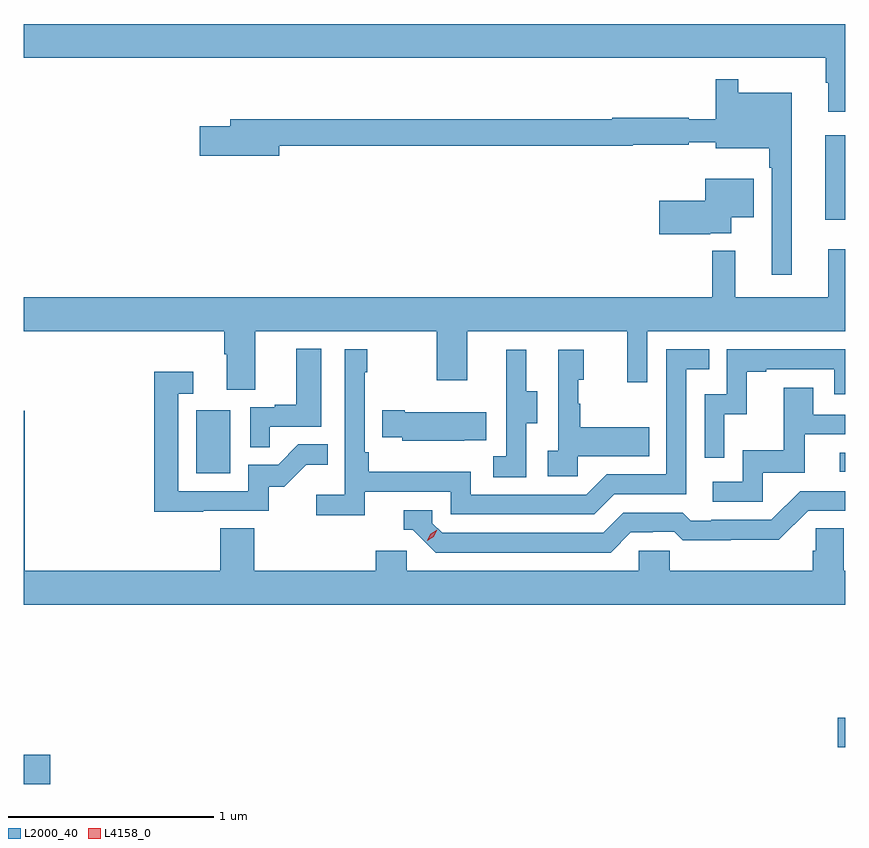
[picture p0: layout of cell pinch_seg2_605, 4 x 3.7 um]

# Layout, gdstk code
import gdstk
lib = gdstk.Library(unit=1e-6, precision=1e-09)
def R(c, l, rs):  # rectangles x0, y0, x1, y1
    for r in rs: c.add(gdstk.rectangle(r[:2], r[2:], *l))
def P(c, l, *ps):  # polygons
    for p in ps: c.add(gdstk.Polygon(p, *l))
L2000_40 = (2000, 40)
L4158_0 = (4158, 0)

pinch_seg2_605 = lib.new_cell('pinch_seg2_605')
R(pinch_seg2_605, L2000_40, [(1034.942,614.794,1035.07,614.936), (1038.906,614.974,1038.942,615.116), (1035.782,616.308,1035.946,616.615), (1038.915,616.314,1038.942,616.407), (1038.845,617.543,1038.942,617.953)])
P(pinch_seg2_605, L2000_40, [(1038.942,618.496),(1034.942,618.496),(1034.942,618.332),(1038.849,618.332),(1038.849,618.209),(1038.86,618.209),(1038.86,618.069),(1038.942,618.069)],
  [(1038.682,618.16),(1038.421,618.16),(1038.421,618.226),(1038.311,618.226),(1038.311,618.031),(1038.18,618.031),(1038.18,618.039),(1037.808,618.039),(1037.808,618.031),(1035.947,618.031),(1035.947,617.997),(1035.798,617.997),(1035.798,617.855),(1036.186,617.855),(1036.186,617.902),(1037.908,617.902),(1037.908,617.909),(1038.18,617.909),(1038.18,617.921),(1038.311,617.921),(1038.311,617.891),(1038.573,617.891),(1038.573,617.795),(1038.585,617.795),(1038.585,617.274),(1038.682,617.274)],
  [(1038.284,617.477),(1038.388,617.477),(1038.388,617.555),(1038.496,617.555),(1038.496,617.743),(1038.26,617.743),(1038.26,617.635),(1038.036,617.635),(1038.036,617.472),(1038.284,617.472)],
  [(1036.069,617),(1036.954,617),(1036.954,616.761),(1037.101,616.761),(1037.101,617),(1037.882,617),(1037.882,616.752),(1037.979,616.752),(1037.979,617),(1038.942,617),(1038.942,617.398),(1038.86,617.398),(1038.86,617.164),(1038.407,617.164),(1038.407,617.392),(1038.294,617.392),(1038.294,617.164),(1034.942,617.164),(1034.942,617),(1035.917,617),(1035.917,616.888),(1035.929,616.888),(1035.929,616.714),(1036.069,616.714)],
  [(1036.139,616.533),(1036.39,616.533),(1036.39,616.915),(1036.268,616.915),(1036.268,616.642),(1036.165,616.642),(1036.165,616.629),(1036.044,616.629),(1036.044,616.435),(1036.139,616.435)],
  [(1036.603,616.218),(1037.022,616.218),(1037.022,616.107),(1037.719,616.107),(1037.818,616.206),(1038.168,616.206),(1038.168,616.815),(1038.281,616.815),(1038.281,616.911),(1038.072,616.911),(1038.072,616.302),(1037.781,616.302),(1037.682,616.203),(1037.118,616.203),(1037.118,616.315),(1036.622,616.315),(1036.622,616.411),(1036.602,616.411),(1036.602,616.799),(1036.615,616.799),(1036.615,616.912),(1036.506,616.912),(1036.506,616.204),(1036.365,616.204),(1036.365,616.102),(1036.603,616.102)],
  [(1038.354,616.595),(1038.464,616.595),(1038.464,616.803),(1038.559,616.803),(1038.559,616.815),(1038.888,616.815),(1038.888,616.692),(1038.942,616.692),(1038.942,616.911),(1038.366,616.911),(1038.366,616.692),(1038.258,616.692),(1038.258,616.383),(1038.354,616.383)],
  [(1037.388,616.552),(1037.443,616.552),(1037.443,616.707),(1037.389,616.707),(1037.389,616.909),(1037.291,616.909),(1037.291,616.695),(1037.292,616.695),(1037.292,616.391),(1037.228,616.391),(1037.228,616.288),(1037.388,616.288)],
  [(1037.64,616.391),(1037.987,616.391),(1037.987,616.531),(1037.653,616.531),(1037.653,616.646),(1037.643,616.646),(1037.643,616.764),(1037.668,616.764),(1037.668,616.909),(1037.544,616.909),(1037.544,616.418),(1037.493,616.418),(1037.493,616.293),(1037.64,616.293)],
  [(1035.815,616.125),(1036.134,616.125),(1036.134,616.242),(1036.21,616.242),(1036.317,616.349),(1036.421,616.349),(1036.421,616.448),(1036.278,616.448),(1036.18,616.35),(1036.035,616.35),(1036.035,616.221),(1035.693,616.221),(1035.693,616.695),(1035.766,616.695),(1035.766,616.801),(1035.577,616.801),(1035.577,616.12),(1035.815,616.12)],
  [(1038.54,616.311),(1038.745,616.311),(1038.745,616.497),(1038.942,616.497),(1038.942,616.593),(1038.787,616.593),(1038.787,616.723),(1038.643,616.723),(1038.643,616.42),(1038.444,616.42),(1038.444,616.266),(1038.297,616.266),(1038.297,616.17),(1038.54,616.17)],
  [(1037.087,616.469),(1037.195,616.469),(1037.195,616.606),(1036.798,616.606),(1036.798,616.614),(1036.687,616.614),(1036.687,616.484),(1036.785,616.484),(1036.785,616.466),(1037.087,616.466)],
  [(1038.942,615.832),(1038.936,615.832),(1038.936,616.04),(1038.799,616.04),(1038.799,615.93),(1038.785,615.93),(1038.785,615.832),(1038.087,615.832),(1038.087,615.93),(1037.937,615.93),(1037.937,615.832),(1036.806,615.832),(1036.806,615.93),(1036.655,615.93),(1036.655,615.832),(1036.064,615.832),(1036.064,616.04),(1035.899,616.04),(1035.899,615.832),(1034.945,615.832),(1034.945,616.611),(1034.942,616.611),(1034.942,615.668),(1038.942,615.668)],
  [(1037.899,616.02),(1038.006,616.02),(1038.006,616.023),(1038.109,616.023),(1038.151,615.981),(1038.384,615.981),(1038.384,615.983),(1038.62,615.983),(1038.762,616.125),(1038.942,616.125),(1038.942,616.221),(1038.723,616.221),(1038.582,616.08),(1038.289,616.08),(1038.289,616.077),(1038.19,616.077),(1038.151,616.116),(1037.862,616.116),(1037.763,616.017),(1036.98,616.017),(1036.932,616.065),(1036.932,616.128),(1036.793,616.128),(1036.793,616.032),(1036.836,616.032),(1036.947,615.921),(1037.8,615.921)])
P(pinch_seg2_605, L4158_0, [(1036.907,615.98),(1036.907,615.981),(1036.924,616.013),(1036.955,616.032),(1036.955,616.032),(1036.955,616.032),(1036.938,615.999),(1036.907,615.98)])

lib.write_gds('pinch_seg2_605.gds')
